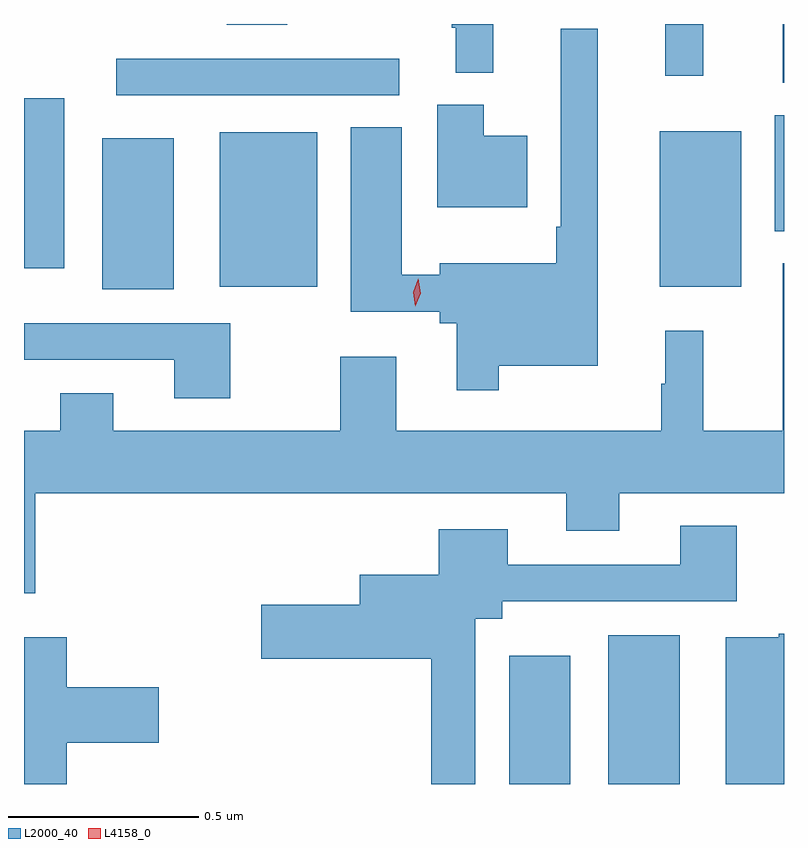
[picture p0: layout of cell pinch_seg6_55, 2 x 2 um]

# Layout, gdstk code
import gdstk
lib = gdstk.Library(unit=1e-6, precision=1e-09)
def R(c, l, rs):  # rectangles x0, y0, x1, y1
    for r in rs: c.add(gdstk.rectangle(r[:2], r[2:], *l))
def P(c, l, *ps):  # polygons
    for p in ps: c.add(gdstk.Polygon(p, *l))
L2000_40 = (2000, 40)
L4158_0 = (4158, 0)

pinch_seg6_55 = lib.new_cell('pinch_seg6_55')
R(pinch_seg6_55, L2000_40, [(1013.807,953.231,1013.968,953.569), (1014.068,953.231,1014.256,953.623), (1012.736,954.533,1012.924,954.931), (1013.045,954.539,1013.302,954.946), (1014.203,954.539,1014.418,954.949), (1012.53,954.588,1012.636,955.036), (1014.506,954.686,1014.53,954.991), (1012.773,955.044,1013.518,955.14), (1014.527,955.076,1014.53,955.231), (1014.218,955.095,1014.317,955.231), (1013.063,955.229,1013.223,955.231)])
P(pinch_seg6_55, L2000_40, [(1013.765,955.231),(1013.655,955.231),(1013.655,955.221),(1013.666,955.221),(1013.666,955.103),(1013.765,955.103)],
  [(1013.779,954.332),(1014.04,954.332),(1014.04,955.219),(1013.943,955.219),(1013.943,954.697),(1013.931,954.697),(1013.931,954.601),(1013.624,954.601),(1013.624,954.571),(1013.524,954.571),(1013.524,954.959),(1013.39,954.959),(1013.39,954.474),(1013.624,954.474),(1013.624,954.443),(1013.669,954.443),(1013.669,954.267),(1013.779,954.267)],
  [(1013.854,954.937),(1013.74,954.937),(1013.74,955.018),(1013.618,955.018),(1013.618,954.749),(1013.854,954.749)],
  [(1012.559,953.996),(1013.957,953.996),(1013.957,953.897),(1014.097,953.897),(1014.097,953.996),(1014.53,953.996),(1014.53,954.601),(1014.527,954.601),(1014.527,954.16),(1014.317,954.16),(1014.317,954.424),(1014.218,954.424),(1014.218,954.284),(1014.207,954.284),(1014.207,954.16),(1013.509,954.16),(1013.509,954.355),(1013.362,954.355),(1013.362,954.16),(1012.765,954.16),(1012.765,954.259),(1012.625,954.259),(1012.625,954.16),(1012.53,954.16),(1012.53,953.733),(1012.559,953.733)],
  [(1013.073,954.444),(1012.53,954.444),(1012.53,954.348),(1012.925,954.348),(1012.925,954.246),(1013.073,954.246)],
  [(1013.718,953.666),(1013.788,953.666),(1013.788,953.712),(1014.405,953.712),(1014.405,953.911),(1014.257,953.911),(1014.257,953.808),(1013.803,953.808),(1013.803,953.902),(1013.621,953.902),(1013.621,953.782),(1013.414,953.782),(1013.414,953.703),(1013.154,953.703),(1013.154,953.561),(1013.602,953.561),(1013.602,953.231),(1013.718,953.231)],
  [(1014.53,953.626),(1014.516,953.626),(1014.516,953.617),(1014.377,953.617),(1014.377,953.231),(1014.53,953.231)],
  [(1012.642,953.339),(1012.885,953.339),(1012.885,953.486),(1012.642,953.486),(1012.642,953.617),(1012.53,953.617),(1012.53,953.231),(1012.642,953.231)])
P(pinch_seg6_55, L4158_0, [(1013.56,954.488),(1013.56,954.488),(1013.554,954.525),(1013.567,954.56),(1013.567,954.56),(1013.568,954.56),(1013.574,954.523),(1013.56,954.488)])

lib.write_gds('pinch_seg6_55.gds')
